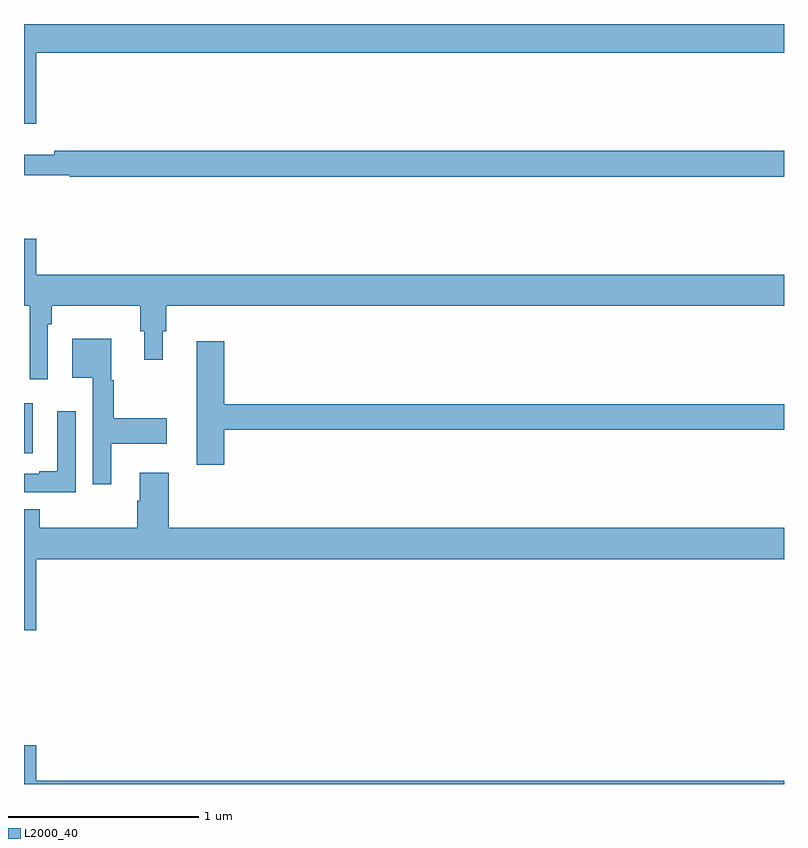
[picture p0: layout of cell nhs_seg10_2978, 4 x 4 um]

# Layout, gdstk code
import gdstk
lib = gdstk.Library(unit=1e-6, precision=1e-09)
def R(c, l, rs):  # rectangles x0, y0, x1, y1
    for r in rs: c.add(gdstk.rectangle(r[:2], r[2:], *l))
def P(c, l, *ps):  # polygons
    for p in ps: c.add(gdstk.Polygon(p, *l))
L2000_40 = (2000, 40)

nhs_seg10_2978 = lib.new_cell('nhs_seg10_2978')
R(nhs_seg10_2978, L2000_40, [(273,1266.242,273.046,1266.505)])
P(nhs_seg10_2978, L2000_40, [(277,1268.5),(273,1268.5),(273,1267.974),(273.064,1267.974),(273.064,1268.348),(277,1268.348)],
  [(277,1267.832),(273.16,1267.832),(273.16,1267.813),(273,1267.813),(273,1267.704),(273.242,1267.704),(273.242,1267.696),(277,1267.696)],
  [(273.126,1266.92),(273.146,1266.92),(273.146,1267.016),(273.613,1267.016),(273.613,1266.882),(273.632,1266.882),(273.632,1266.732),(273.73,1266.732),(273.73,1266.882),(273.749,1266.882),(273.749,1267.016),(277,1267.016),(277,1267.18),(273.064,1267.18),(273.064,1267.369),(273,1267.369),(273,1267.016),(273.029,1267.016),(273.029,1266.63),(273.126,1266.63)],
  [(273.46,1266.29),(273.751,1266.29),(273.751,1266.425),(273.472,1266.425),(273.472,1266.624),(273.46,1266.624),(273.46,1266.844),(273.254,1266.844),(273.254,1266.638),(273.363,1266.638),(273.363,1266.078),(273.46,1266.078)],
  [(274.055,1266.364),(277,1266.364),(277,1266.5),(274.055,1266.5),(274.055,1266.829),(273.908,1266.829),(273.908,1266.18),(274.055,1266.18)],
  [(273.273,1266.463),(273.176,1266.463),(273.176,1266.145),(273.08,1266.145),(273.08,1266.132),(273,1266.132),(273,1266.036),(273.273,1266.036)],
  [(273.064,1265.684),(277,1265.684),(277,1265.848),(273.761,1265.848),(273.761,1266.139),(273.608,1266.139),(273.608,1265.99),(273.596,1265.99),(273.596,1265.848),(273.083,1265.848),(273.083,1265.946),(273,1265.946),(273,1265.31),(273.064,1265.31)],
  [(277,1264.516),(273.064,1264.516),(273.064,1264.705),(273,1264.705),(273,1264.5),(277,1264.5)])

lib.write_gds('nhs_seg10_2978.gds')
